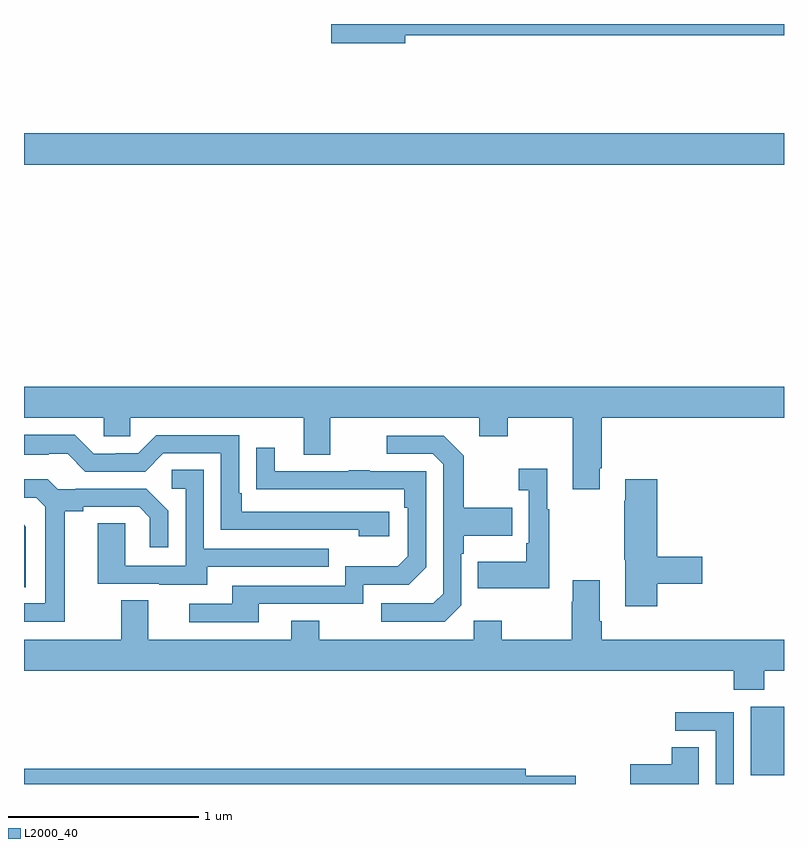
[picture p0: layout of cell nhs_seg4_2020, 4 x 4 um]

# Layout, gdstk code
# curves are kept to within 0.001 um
import gdstk
lib = gdstk.Library(unit=1e-6, precision=1e-09)
def R(c, l, rs):  # rectangles x0, y0, x1, y1
    for r in rs: c.add(gdstk.rectangle(r[:2], r[2:], *l))
def P(c, l, *ps):  # polygons
    for p in ps: c.add(gdstk.Polygon(p, *l))
L2000_40 = (2000, 40)

nhs_seg4_2020 = lib.new_cell('nhs_seg4_2020')
R(nhs_seg4_2020, L2000_40, [(218.825,786.945,219,787.306), (215,790.16,219,790.324)])
P(nhs_seg4_2020, L2000_40, [(217.006,790.84),(219,790.84),(219,790.9),(216.618,790.9),(216.618,790.798),(217.006,790.798)],
  [(218.029,788.563),(218.042,788.563),(218.042,788.828),(219,788.828),(219,788.992),(215,788.992),(215,788.828),(215.421,788.828),(215.421,788.73),(215.559,788.73),(215.559,788.828),(216.473,788.828),(216.473,788.634),(216.613,788.634),(216.613,788.828),(217.397,788.828),(217.397,788.729),(217.545,788.729),(217.545,788.828),(217.889,788.828),(217.889,788.451),(218.029,788.451)],
  [(216.922,788.334),(216.145,788.334),(216.145,788.431),(216.132,788.431),(216.132,788.736),(215.697,788.736),(215.601,788.64),(215.483,788.64),(215.483,788.637),(215.367,788.637),(215.267,788.737),(215,788.737),(215,788.633),(215.129,788.633),(215.129,788.637),(215.229,788.637),(215.322,788.544),(215.637,788.544),(215.733,788.64),(216.036,788.64),(216.036,788.238),(216.761,788.238),(216.761,788.204),(216.922,788.204)],
  [(217.302,787.842),(217.302,788.111),(217.315,788.111),(217.315,788.207),(217.571,788.207),(217.571,788.355),(217.315,788.355),(217.315,788.627),(217.209,788.733),(216.909,788.733),(216.909,788.637),(217.152,788.637),(217.206,788.583),(217.206,787.902),(217.155,787.851),(216.879,787.851),(216.879,787.755),(217.215,787.755)],
  [(216.235,787.848),(216.786,787.848),(216.786,787.95),(217.026,787.95),(217.116,788.04),(217.116,788.547),(216.821,788.547),(216.821,788.552),(216.709,788.552),(216.709,788.547),(216.319,788.547),(216.319,788.671),(216.223,788.671),(216.223,788.452),(217,788.451),(217,788.354),(217.02,788.354),(217.02,788.1),(216.967,788.047),(216.69,788.047),(216.69,787.944),(216.095,787.944),(216.095,787.848),(215.871,787.848),(215.871,787.752),(216.235,787.752)],
  [(217.765,788.347),(217.753,788.347),(217.753,788.56),(217.605,788.56),(217.605,788.447),(217.656,788.447),(217.656,788.167),(217.644,788.167),(217.644,788.071),(217.387,788.071),(217.387,787.931),(217.765,787.931)],
  [(215.965,788.043),(216.605,788.043),(216.605,788.139),(215.946,788.139),(215.946,788.555),(215.778,788.555),(215.778,788.454),(215.85,788.454),(215.85,788.049),(215.532,788.049),(215.532,788.273),(215.387,788.273),(215.387,787.953),(215.711,787.953),(215.711,787.949),(215.965,787.949)],
  [(218.333,787.954),(218.569,787.954),(218.569,788.096),(218.333,788.096),(218.333,788.503),(218.165,788.503),(218.165,788.39),(218.158,788.39),(218.158,788.079),(218.165,788.079),(218.165,787.836),(218.333,787.836)],
  [(215.215,788.336),(215.311,788.336),(215.311,788.358),(215.606,788.358),(215.663,788.301),(215.663,788.145),(215.76,788.145),(215.76,788.338),(215.644,788.454),(215.272,788.454),(215.272,788.451),(215.178,788.451),(215.126,788.503),(215,788.503),(215,788.406),(215.064,788.406),(215.111,788.359),(215.111,787.851),(215.001,787.851),(215.001,787.755),(215.215,787.755)],
  [(215.01,788.254),(215,788.264),(215,787.936),(215.01,787.936)],
  [(218.895,787.496),(219,787.496),(219,787.66),(218.042,787.66),(218.042,787.756),(218.029,787.756),(218.029,787.972),(217.889,787.972),(217.889,787.859),(217.882,787.859),(217.882,787.66),(217.515,787.66),(217.515,787.759),(217.368,787.759),(217.368,787.66),(216.555,787.66),(216.555,787.759),(216.407,787.759),(216.407,787.66),(215.653,787.66),(215.653,787.868),(215.513,787.868),(215.513,787.66),(215,787.66),(215,787.496),(218.735,787.496),(218.735,787.397),(218.895,787.397)],
  [(218.736,787.278),(218.427,787.278),(218.427,787.179),(218.64,787.179),(218.64,786.9),(218.736,786.9)],
  [(218.551,787.094),(218.408,787.094),(218.408,787.004),(218.19,787.004),(218.19,786.9),(218.551,786.9)],
  [(217.903,786.944),(217.642,786.944),(217.642,786.98),(215,786.98),(215,786.9),(217.903,786.9)])

lib.write_gds('nhs_seg4_2020.gds')
